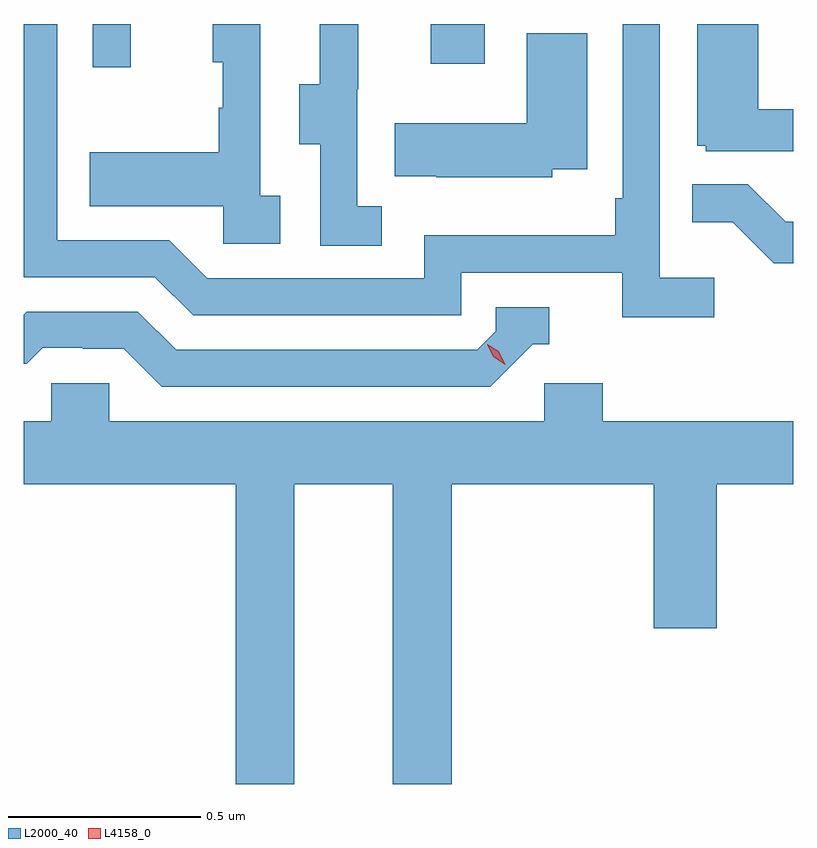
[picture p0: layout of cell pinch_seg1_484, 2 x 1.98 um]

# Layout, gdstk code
import gdstk
lib = gdstk.Library(unit=1e-6, precision=1e-09)
def R(c, l, rs):  # rectangles x0, y0, x1, y1
    for r in rs: c.add(gdstk.rectangle(r[:2], r[2:], *l))
def P(c, l, *ps):  # polygons
    for p in ps: c.add(gdstk.Polygon(p, *l))
L2000_40 = (2000, 40)
L4158_0 = (4158, 0)

pinch_seg1_484 = lib.new_cell('pinch_seg1_484')
R(pinch_seg1_484, L2000_40, [(1086.627,534.168,1086.725,534.28), (1087.505,534.177,1087.645,534.28)])
P(pinch_seg1_484, L2000_40, [(1087.378,533.807),(1087.314,533.807),(1087.314,534.111),(1087.316,534.111),(1087.316,534.28),(1087.217,534.28),(1087.217,534.123),(1087.163,534.123),(1087.163,533.968),(1087.218,533.968),(1087.218,533.704),(1087.378,533.704)],
  [(1087.114,533.834),(1087.062,533.834),(1087.062,534.28),(1086.938,534.28),(1086.938,534.18),(1086.964,534.18),(1086.964,534.062),(1086.954,534.062),(1086.954,533.947),(1086.619,533.947),(1086.619,533.807),(1086.966,533.807),(1086.966,533.709),(1087.114,533.709)],
  [(1088.447,534.058),(1088.356,534.058),(1088.356,534.28),(1088.198,534.28),(1088.198,533.964),(1088.22,533.964),(1088.22,533.949),(1088.447,533.949)],
  [(1088.242,533.62),(1088.1,533.62),(1088.1,534.28),(1088.004,534.28),(1088.004,533.827),(1087.984,533.827),(1087.984,533.731),(1087.488,533.731),(1087.488,533.619),(1086.924,533.619),(1086.825,533.718),(1086.534,533.718),(1086.534,534.28),(1086.447,534.28),(1086.447,533.622),(1086.788,533.622),(1086.887,533.523),(1087.584,533.523),(1087.584,533.634),(1088.003,533.634),(1088.003,533.518),(1088.242,533.518)],
  [(1087.821,533.903),(1087.912,533.903),(1087.912,534.256),(1087.754,534.256),(1087.754,534.022),(1087.411,534.022),(1087.411,533.885),(1087.519,533.885),(1087.519,533.882),(1087.821,533.882)],
  [(1088.447,533.766),(1088.427,533.766),(1088.329,533.864),(1088.185,533.864),(1088.185,533.765),(1088.289,533.765),(1088.396,533.658),(1088.447,533.658)],
  [(1087.77,533.448),(1087.813,533.448),(1087.813,533.544),(1087.674,533.544),(1087.674,533.481),(1087.626,533.433),(1086.843,533.433),(1086.744,533.532),(1086.455,533.532),(1086.447,533.524),(1086.447,533.397),(1086.455,533.397),(1086.497,533.439),(1086.6,533.439),(1086.6,533.436),(1086.707,533.436),(1086.806,533.337),(1087.659,533.337)],
  [(1087.15,533.084),(1087.406,533.084),(1087.406,532.305),(1087.559,532.305),(1087.559,533.084),(1088.084,533.084),(1088.084,532.71),(1088.248,532.71),(1088.248,533.084),(1088.447,533.084),(1088.447,533.248),(1087.952,533.248),(1087.952,533.346),(1087.8,533.346),(1087.8,533.248),(1086.669,533.248),(1086.669,533.346),(1086.519,533.346),(1086.519,533.248),(1086.447,533.248),(1086.447,533.084),(1086.998,533.084),(1086.998,532.305),(1087.15,532.305)])
P(pinch_seg1_484, L4158_0, [(1087.698,533.395),(1087.667,533.415),(1087.651,533.448),(1087.651,533.448),(1087.651,533.448),(1087.682,533.429),(1087.698,533.396),(1087.698,533.395)])

lib.write_gds('pinch_seg1_484.gds')
